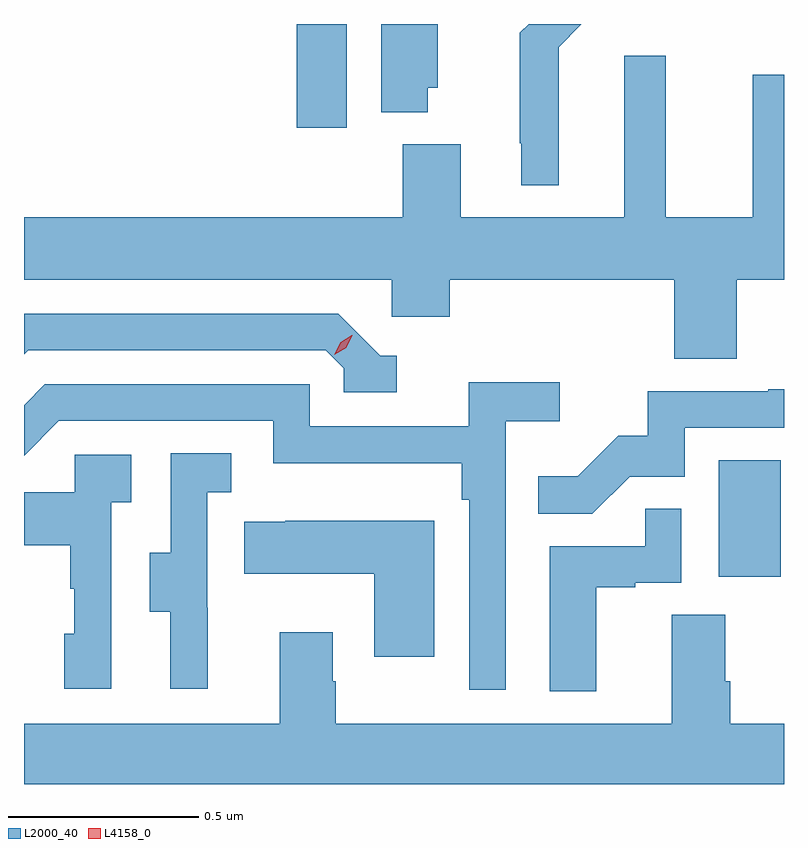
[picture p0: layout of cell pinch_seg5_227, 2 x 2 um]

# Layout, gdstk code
import gdstk
lib = gdstk.Library(unit=1e-6, precision=1e-09)
def R(c, l, rs):  # rectangles x0, y0, x1, y1
    for r in rs: c.add(gdstk.rectangle(r[:2], r[2:], *l))
def P(c, l, *ps):  # polygons
    for p in ps: c.add(gdstk.Polygon(p, *l))
L2000_40 = (2000, 40)
L4158_0 = (4158, 0)

pinch_seg5_227 = lib.new_cell('pinch_seg5_227')
R(pinch_seg5_227, L2000_40, [(980.102,894.606,980.266,894.913), (978.992,895.788,979.123,896.061)])
P(pinch_seg5_227, L2000_40, [(979.336,895.893),(979.363,895.893),(979.363,896.061),(979.214,896.061),(979.214,895.829),(979.336,895.829)],
  [(979.681,896),(979.741,896.061),(979.602,896.061),(979.579,896.038),(979.579,895.747),(979.583,895.747),(979.583,895.637),(979.681,895.637)],
  [(980.15,895.388),(980.274,895.388),(980.274,895.927),(980.192,895.927),(980.192,895.552),(979.963,895.552),(979.963,895.978),(979.853,895.978),(979.853,895.552),(979.423,895.552),(979.423,895.744),(979.271,895.744),(979.271,895.552),(978.274,895.552),(978.274,895.388),(979.242,895.388),(979.242,895.29),(979.394,895.29),(979.394,895.388),(979.985,895.388),(979.985,895.18),(980.15,895.18)],
  [(979.255,895.188),(979.212,895.188),(979.101,895.299),(978.274,895.299),(978.274,895.192),(978.285,895.203),(979.068,895.203),(979.116,895.155),(979.116,895.092),(979.255,895.092)],
  [(979.542,895.016),(979.684,895.016),(979.684,895.118),(979.445,895.118),(979.445,895.002),(979.026,895.002),(979.026,895.113),(978.329,895.113),(978.274,895.058),(978.274,894.925),(978.366,895.017),(978.93,895.017),(978.93,894.905),(979.426,894.905),(979.426,894.809),(979.446,894.809),(979.446,894.309),(979.542,894.309)],
  [(979.868,894.87),(980.013,894.87),(980.013,894.999),(980.274,894.999),(980.274,895.1),(980.233,895.1),(980.233,895.095),(979.915,895.095),(979.915,894.978),(979.838,894.978),(979.731,894.871),(979.627,894.871),(979.627,894.772),(979.77,894.772)],
  [(978.758,894.525),(978.756,894.525),(978.756,894.829),(978.82,894.829),(978.82,894.932),(978.66,894.932),(978.66,894.669),(978.605,894.669),(978.605,894.514),(978.659,894.514),(978.659,894.312),(978.758,894.312)],
  [(978.504,894.803),(978.556,894.803),(978.556,894.927),(978.408,894.927),(978.408,894.829),(978.274,894.829),(978.274,894.689),(978.396,894.689),(978.396,894.575),(978.406,894.575),(978.406,894.456),(978.38,894.456),(978.38,894.312),(978.504,894.312)],
  [(979.78,894.579),(979.883,894.579),(979.883,894.591),(980.004,894.591),(980.004,894.785),(979.909,894.785),(979.909,894.687),(979.658,894.687),(979.658,894.305),(979.78,894.305)],
  [(979.354,894.754),(978.961,894.754),(978.961,894.751),(978.853,894.751),(978.853,894.614),(979.196,894.614),(979.196,894.396),(979.354,894.396)],
  [(980.274,894.22),(980.132,894.22),(980.132,894.332),(980.119,894.332),(980.119,894.506),(979.979,894.506),(979.979,894.22),(979.095,894.22),(979.095,894.332),(979.087,894.332),(979.087,894.46),(978.947,894.46),(978.947,894.22),(978.274,894.22),(978.274,894.061),(980.274,894.061)])
P(pinch_seg5_227, L4158_0, [(979.091,895.19),(979.091,895.191),(979.107,895.223),(979.137,895.242),(979.138,895.242),(979.138,895.242),(979.122,895.209),(979.091,895.19)])

lib.write_gds('pinch_seg5_227.gds')
